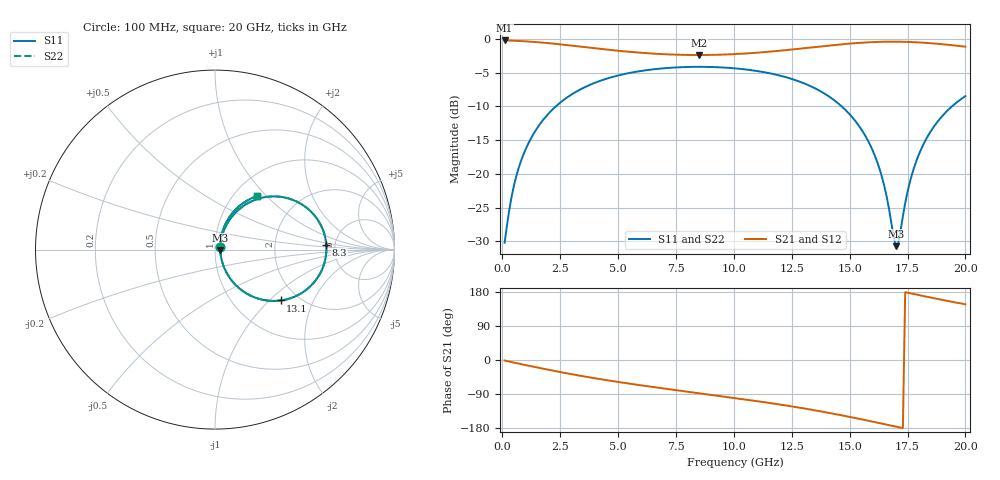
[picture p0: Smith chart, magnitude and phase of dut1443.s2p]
! Touchstone file exported from HFSS 2026.1.0
!  File:  C:/ffzhzh/LocalFiles/Ansys_Project_Files/temp_train_TSV_RDL_1443_1783357783_46376.aedt
!  Generated:  01:19:00 AM Jul  7, 2026
!  Design:  TSV_RDL
!  Project:  temp_train_TSV_RDL_1443_1783357783_46376
! Variables:
!  h_bsmrdl = 2.35um
!  h_ox = 20um
!  h_rdl = 5um
!  h_sub = 90.01um
!  h_tmrdl = 3.96um
!  h_tsv = 90.01um
!  h_via = 3um
!  l_bsmrdl = 574.61um
!  l_sub = 3252.44um
!  l_tmrdl = 262.63um
!  m_sub = 200um
!  pitch = 50.84um
!  r_tsv = 9um
!  s_tmrdl = 10um
!  w_bsmrdl = 14.87um
!  w_sub = 500um
!  w_tmrdl = 11.16um
!  x_tsv_center1 = 268.21um
!  x_tsv_center2 = 857.69um
!  x_tsv_center3 = 1131.48um
!  x_tsv_center4 = 1720.96um
!  x_tsv_center5 = 1994.75um
!  x_tsv_center6 = 2584.23um
# GHz S MA R 50.000000
! Terminal data exported
! Port[1] = TM_RDL1_1_T1
! Port[2] = TM_RDL5_1_T1
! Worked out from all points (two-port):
!   200 points, 100 MHz to 20 GHz, reference 50 ohm
!   highest |S21| = -0.24 dB at 100 MHz (marker M1); lowest = -2.4 dB at 8.5 GHz (marker M2)
!   |S21| within 3 dB of the highest: start of sweep to end of sweep
!   lowest |S11| = -30.7 dB at 17 GHz (marker M3), VSWR 1.06, Z = 53 - j0.283 ohm
!   |S11| at or under -10 dB: start of sweep to 2.312 GHz; 14.66 GHz to 19.42 GHz (4.76 GHz wide, 27.9 % of centre)
!   |S22| runs from -30.7 to -4.1 dB; largest |S21 - S12| = 5.8e-14
!   S11 on the Smith chart (normalised r, x): 100 MHz: 1.06, +0.03; 8.3 GHz: 4.24, +0.36; 13.1 GHz: 1.63, -1.18; 20 GHz: 1.26, +0.88
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0.1  0.03094 29.0  0.9732 -1.4  0.9732 -1.4  0.03094 29.0
! Gamma 0 0 0 0
! Port Impedance 50 0 50 0
0.5  0.08156 62.8  0.9687 -6.8  0.9687 -6.8  0.08156 62.8
0.8  0.1235 65.4  0.9631 -10.8  0.9631 -10.8  0.1235 65.4
1.2  0.1782 64.2  0.9538 -15.9  0.9538 -15.9  0.1782 64.2
2.2  0.3035 55.9  0.9222 -28.3  0.9222 -28.3  0.3035 55.9
3.5  0.4335 43.1  0.8715 -43.0  0.8715 -43.0  0.4335 43.1
6.8  0.602 14.2  0.7727 -73.7  0.7727 -73.7  0.602 14.2
8.3  0.6206 2.4  0.7593 -86.0  0.7593 -86.0  0.6206 2.4
8.5  0.6209 0.9  0.7592 -87.6  0.7592 -87.6  0.6209 0.9
10.1  0.6038 -11.6  0.7721 -100.7  0.7721 -100.7  0.6038 -11.6
13.1  0.4631 -37.7  0.8552 -128.6  0.8552 -128.6  0.4631 -37.7
13.4  0.4392 -40.6  0.8662 -131.7  0.8662 -131.7  0.4392 -40.6
14.7  0.3116 -53.4  0.913 -146.5  0.913 -146.5  0.3116 -53.4
15.6  0.2016 -61.3  0.9384 -157.6  0.9384 -157.6  0.2017 -61.3
16.2  0.1215 -63.3  0.9491 -165.3  0.9491 -165.3  0.1215 -63.3
16.7  0.05529 -51.9  0.9531 -171.9  0.9531 -171.9  0.05532 -51.9
17  0.02918 -5.2  0.9531 -175.8  0.9531 -175.8  0.02925 -5.2
17.1  0.0307 21.1  0.9528 -177.1  0.9528 -177.1  0.03076 21.1
17.6  0.08672 65.6  0.9481 176.3  0.9481 176.3  0.08675 65.5
18.1  0.1539 67.9  0.9388 169.9  0.9388 169.9  0.1539 67.9
18.9  0.2562 62.5  0.9162 159.8  0.9162 159.8  0.2562 62.5
20  0.3766 52.1  0.8755 146.9  0.8755 146.9  0.3766 52.1
